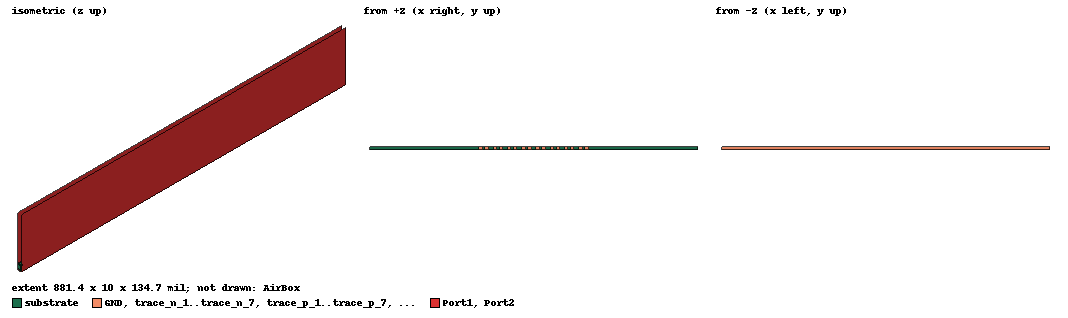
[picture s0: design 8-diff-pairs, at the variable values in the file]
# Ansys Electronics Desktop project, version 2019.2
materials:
  vacuum: permittivity=1
  copper: permeability=0.999991 conductivity=58000000
  FR4_epoxy: permittivity=4.4 dielectric_loss_tangent=0.02
  air: permittivity=1.0006 permeability=1.0000004

design 8-diff-pairs (HFSS, DrivenTerminal, model units mil)
options: Calculate_Lossy_Dielectrics
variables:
  H = 13mil  # substrate height
  W = 9.7mil  # trace width
  S = 6.3mil  # trace seperation
  T = 2.35mil  # trace thickness
  LL = 10mil  # length of line
  ss_coef = 2  # ratio of SS/S
  SS = S*ss_coef  # differential pair's seperation
  num_of_pairs = 8  # total number of diff-pairs
  sub_res = num_of_pairs*(2*W+S+SS)-SS
  sub_width = 2*sub_res+num_of_pairs*(2*W+S+SS)-SS
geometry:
  trace_p_0 [copper] = box(corner=(0mil, 0mil, H), size=(W, LL, T))
  trace_n_0 [copper] = trace_p_0.duplicate_along_line(step=(W+S, 0mil, 0mil), total=2)
  trace_n_1..trace_n_7 [copper] = trace_n_0.duplicate_along_line(step=(2*W+S+SS, 0mil, 0mil), total=num_of_pairs)
  trace_p_1..trace_p_7 [copper] = trace_p_0.duplicate_along_line(step=(2*W+S+SS, 0mil, 0mil), total=num_of_pairs)
  substrate [FR4_epoxy] = box(corner=(-sub_res, 0mil, 0mil), size=(sub_width, LL, H))
  GND [copper] = box(corner=(-sub_res, 0mil, 0mil), size=(sub_width, LL, -T))
  AirBox [air] = box(corner=(-sub_res, 0mil, -T), size=(sub_width, LL, T+10*H+T))
  Port1 = rectangle(corner=(-sub_res, 0mil, -T), z_size=T+10*H+T, x_size=sub_width)
  Port2 = Port1.duplicate_along_line(step=(0mil, LL, 0mil), total=2)
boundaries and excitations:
  Rad1: Radiation Objects=AirBox
  trace_p_0_T1: Terminal port=1 Faces=trace_p_0.face(-y) TerminalResistance=50ohm
  trace_n_0_T1: Terminal port=1 Faces=trace_n_0.face(3 of 6) TerminalResistance=50ohm
  trace_n_1_T1: Terminal port=1 Faces=trace_n_1.face(3 of 6) TerminalResistance=50ohm
  trace_n_2_T1: Terminal port=1 Faces=trace_n_2.face(3 of 6) TerminalResistance=50ohm
  trace_n_3_T1: Terminal port=1 Faces=trace_n_3.face(3 of 6) TerminalResistance=50ohm
  trace_n_4_T1: Terminal port=1 Faces=trace_n_4.face(3 of 6) TerminalResistance=50ohm
  trace_n_5_T1: Terminal port=1 Faces=trace_n_5.face(3 of 6) TerminalResistance=50ohm
  trace_n_6_T1: Terminal port=1 Faces=trace_n_6.face(3 of 6) TerminalResistance=50ohm
  trace_n_7_T1: Terminal port=1 Faces=trace_n_7.face(3 of 6) TerminalResistance=50ohm
  trace_p_1_T1: Terminal port=1 Faces=trace_p_1.face(3 of 6) TerminalResistance=50ohm
  trace_p_2_T1: Terminal port=1 Faces=trace_p_2.face(3 of 6) TerminalResistance=50ohm
  trace_p_3_T1: Terminal port=1 Faces=trace_p_3.face(3 of 6) TerminalResistance=50ohm
  trace_p_4_T1: Terminal port=1 Faces=trace_p_4.face(3 of 6) TerminalResistance=50ohm
  trace_p_5_T1: Terminal port=1 Faces=trace_p_5.face(3 of 6) TerminalResistance=50ohm
  trace_p_6_T1: Terminal port=1 Faces=trace_p_6.face(3 of 6) TerminalResistance=50ohm
  trace_p_7_T1: Terminal port=1 Faces=trace_p_7.face(3 of 6) TerminalResistance=50ohm
  trace_p_0_T2: Terminal port=2 Faces=trace_p_0.face(+y) TerminalResistance=50ohm
  trace_n_0_T2: Terminal port=2 Faces=trace_n_0.face(5 of 6) TerminalResistance=50ohm
  trace_n_1_T2: Terminal port=2 Faces=trace_n_1.face(5 of 6) TerminalResistance=50ohm
  trace_n_2_T2: Terminal port=2 Faces=trace_n_2.face(5 of 6) TerminalResistance=50ohm
  trace_n_3_T2: Terminal port=2 Faces=trace_n_3.face(5 of 6) TerminalResistance=50ohm
  trace_n_4_T2: Terminal port=2 Faces=trace_n_4.face(5 of 6) TerminalResistance=50ohm
  trace_n_5_T2: Terminal port=2 Faces=trace_n_5.face(5 of 6) TerminalResistance=50ohm
  trace_n_6_T2: Terminal port=2 Faces=trace_n_6.face(5 of 6) TerminalResistance=50ohm
  trace_n_7_T2: Terminal port=2 Faces=trace_n_7.face(5 of 6) TerminalResistance=50ohm
  trace_p_1_T2: Terminal port=2 Faces=trace_p_1.face(5 of 6) TerminalResistance=50ohm
  trace_p_2_T2: Terminal port=2 Faces=trace_p_2.face(5 of 6) TerminalResistance=50ohm
  trace_p_3_T2: Terminal port=2 Faces=trace_p_3.face(5 of 6) TerminalResistance=50ohm
  trace_p_4_T2: Terminal port=2 Faces=trace_p_4.face(5 of 6) TerminalResistance=50ohm
  trace_p_5_T2: Terminal port=2 Faces=trace_p_5.face(5 of 6) TerminalResistance=50ohm
  trace_p_6_T2: Terminal port=2 Faces=trace_p_6.face(5 of 6) TerminalResistance=50ohm
  trace_p_7_T2: Terminal port=2 Faces=trace_p_7.face(5 of 6) TerminalResistance=50ohm
  1: Wave Port Faces=Port1.face(at (146.9, 0, 65)) NumModes=1 DeembedDist=-190mil
  2: Wave Port Faces=Port2.face NumModes=1
  reference conductors: GND
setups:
  Setup1: HfssDriven AdaptMultipleFreqs MultipleAdaptiveFreqsSetup{10GHz(0.01) 40GHz(0.01) 70GHz(0.01)} MaximumPasses=15 MinimumPasses=2 MinimumConvergedPasses=2 PercentRefinement=30 BasisOrder=-1 PortAccuracy=0.5 ConstantDelta=0s
    sweep Sweep: 0.1GHz to 70GHz step 0.5GHz; Type=Interpolating InterpTolerance=0.5 InterpMaxSolns=250 PassivityErrorTolerance=0.0001
  Setup_port: HfssDriven Frequency=70GHz MaxDeltaS=0.02 PortsOnly MaximumPasses=6 MinimumPasses=1 MinimumConvergedPasses=1 PercentRefinement=30 BasisOrder=1 PortAccuracy=2
    sweep Sweep: 1GHz to 70GHz step 0.5GHz; Type=Interpolating InterpTolerance=0.5 InterpMaxSolns=250 InterpUseS=false
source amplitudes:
  1:1, 1:16, 2:16: 1V 0deg
  1:2, 1:9, 2:9: 1V 180deg
  1:3..1:8, 1:10..1:15, 2:1..2:8, 2:10..2:15: 0V 0deg
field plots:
  Vector_E1: E Field over Port1.face(at (146.9, 0, 65)) on Setup1 : LastAdaptive at Freq=70GHz Phase=0deg
  Vector_E2: E Field over Port2.face on Setup1 : LastAdaptive at Freq=70GHz Phase=0deg
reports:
  Terminal S Parameter Plot 1: dB(St(trace_n_0_T1,trace_n_0_T1)), dB(St(trace_n_1_T1,trace_n_1_T1)), dB(St(trace_n_2_T1,trace_n_2_T1)), dB(St(trace_n_3_T1,trace_n_3_T1)), dB(St(trace_n_4_T1,trace_n_4_T1)), dB(St(trace_n_5_T1,trace_n_5_T1)), dB(St(trace_n_6_T1,trace_n_6_T1)), dB(St(trace_n_7_T1,trace_n_7_T1)), dB(St(trace_p_0_T1,trace_p_0_T1)), dB(St(trace_p_1_T1,trace_p_1_T1)), dB(St(trace_p_2_T1,trace_p_2_T1)), dB(St(trace_p_3_T1,trace_p_3_T1)), dB(St(trace_p_4_T1,trace_p_4_T1)), dB(St(trace_p_5_T1,trace_p_5_T1)), dB(St(trace_p_6_T1,trace_p_6_T1)), dB(St(trace_p_7_T1,trace_p_7_T1)), dB(St(trace_n_0_T2,trace_n_0_T2)), dB(St(trace_n_1_T2,trace_n_1_T2)), dB(St(trace_n_2_T2,trace_n_2_T2)), dB(St(trace_n_3_T2,trace_n_3_T2)), dB(St(trace_n_4_T2,trace_n_4_T2)), dB(St(trace_n_5_T2,trace_n_5_T2)), dB(St(trace_n_6_T2,trace_n_6_T2)), dB(St(trace_n_7_T2,trace_n_7_T2)), dB(St(trace_p_0_T2,trace_p_0_T2)), dB(St(trace_p_1_T2,trace_p_1_T2)), dB(St(trace_p_2_T2,trace_p_2_T2)), dB(St(trace_p_3_T2,trace_p_3_T2)), dB(St(trace_p_4_T2,trace_p_4_T2)), dB(St(trace_p_5_T2,trace_p_5_T2)), dB(St(trace_p_6_T2,trace_p_6_T2)), dB(St(trace_p_7_T2,trace_p_7_T2)) vs Freq on Setup1 : Sweep
